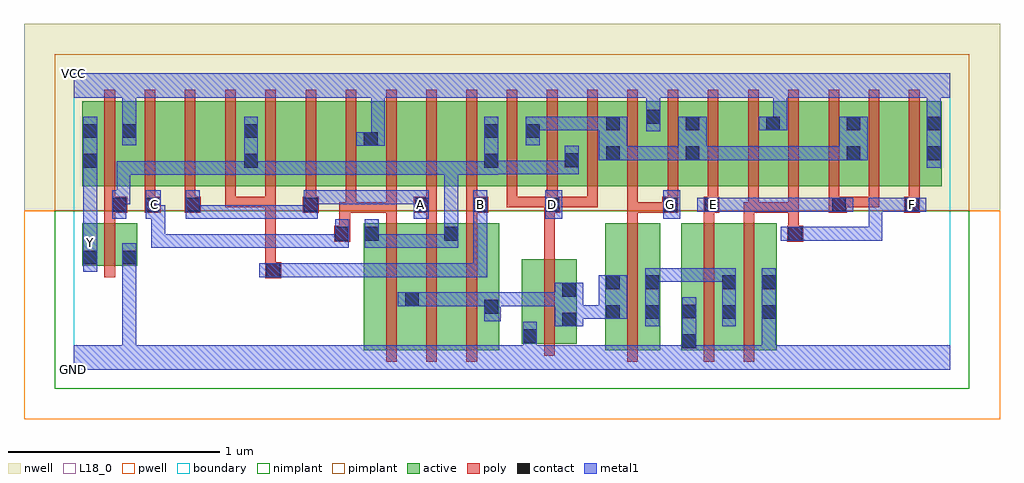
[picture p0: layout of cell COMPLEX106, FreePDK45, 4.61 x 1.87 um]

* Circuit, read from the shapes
.subckt COMPLEX106 A B C D E F G GND VCC Y
M1 GND n1 Y VSUBS nfet w=0.2u l=0.05u
M2 n2 C n1 VSUBS nfet w=0.6u l=0.05u
M3 n1 A n2 VSUBS nfet w=0.6u l=0.05u
M4 n2 B n1 VSUBS nfet w=0.6u l=0.05u
M5 n2 D GND VSUBS nfet w=0.4u l=0.05u
M6 n3 G n2 VSUBS nfet w=0.6u l=0.05u
M7 n3 E GND VSUBS nfet w=0.6u l=0.05u
M8 GND F n3 VSUBS nfet w=0.6u l=0.05u
M9 VCC n1 Y n4 pfet w=0.4u l=0.05u
M10 n5 C VCC n4 pfet w=0.4u l=0.05u
M11 n6 A n5 n4 pfet w=0.4u l=0.05u
M12 n1 B n6 n4 pfet w=0.4u l=0.05u
M13 n7 B n1 n4 pfet w=0.4u l=0.05u
M14 n8 A n7 n4 pfet w=0.4u l=0.05u
M15 VCC C n8 n4 pfet w=0.4u l=0.05u
M16 n9 C VCC n4 pfet w=0.4u l=0.05u
M17 n10 A n9 n4 pfet w=0.4u l=0.05u
M18 n1 B n10 n4 pfet w=0.4u l=0.05u
M19 n11 D n1 n4 pfet w=0.4u l=0.05u m=3
M20 VCC G n11 n4 pfet w=0.4u l=0.05u m=2
M21 n12 E n11 n4 pfet w=0.4u l=0.05u
M22 VCC F n12 n4 pfet w=0.4u l=0.05u
M23 n13 F VCC n4 pfet w=0.4u l=0.05u
M24 n11 E n13 n4 pfet w=0.4u l=0.05u
M25 n14 E n11 n4 pfet w=0.4u l=0.05u
M26 VCC F n14 n4 pfet w=0.4u l=0.05u
.ends

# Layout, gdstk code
import gdstk
lib = gdstk.Library(unit=1e-6, precision=1e-09)
def R(c, l, rs):  # rectangles x0, y0, x1, y1
    for r in rs: c.add(gdstk.rectangle(r[:2], r[2:], *l))
def A(c, l, x, y, w, h, nx, ny, dx, dy):  # array of equal rectangles
    R(c, l, [(x+i*dx, y+j*dy, x+i*dx+w, y+j*dy+h) for i in range(nx) for j in range(ny)])
active = (1, 0)
pwell = (2, 0)
nwell = (3, 0)
nimplant = (4, 0)
pimplant = (5, 0)
poly = (9, 0)
contact = (10, 0)
metal1 = (11, 0)
L18_0 = (18, 0)
boundary = (235, 0)

complex106 = lib.new_cell('COMPLEX106')
A(complex106, active, 0.455, 0.867, 0.19, 0.4, 3, 1, 0.57, 0)
A(complex106, active, 2.885, 0.867, 0.23, 0.4, 3, 1, 0.38, 0)
A(complex106, active, 3.115, 0.867, 0.225, 0.4, 3, 1, 0.38, 0)
R(complex106, active, [(1.37,0.092,1.635,0.692), (1.56,0.092,1.82,0.692), (1.745,0.092,2.01,0.692), (2.51,0.092,2.77,0.692), (2.87,0.092,2.945,0.692), (2.87,0.092,3.132,0.692), (3.057,0.092,3.32,0.692), (3.245,0.092,3.32,0.692), (1.37,0.095,1.445,0.692), (1.56,0.095,1.635,0.667), (1.745,0.095,1.82,0.692), (1.935,0.095,2.01,0.692), (2.51,0.095,2.585,0.692), (2.695,0.095,2.77,0.692), (3.057,0.095,3.132,0.692), (2.117,0.122,2.377,0.522), (2.117,0.122,2.192,0.492), (2.302,0.2,2.377,0.522), (0.04,0.492,0.115,0.692), (0.04,0.492,0.3,0.692), (0.225,0.492,0.3,0.692), (0.04,0.867,0.3,1.267), (0.04,0.867,0.115,1.2), (0.225,0.867,0.455,1.267), (0.225,0.867,0.3,1.267), (0.645,0.867,0.875,1.267), (0.8,0.867,1.025,1.267), (0.8,0.867,0.875,1.2), (1.215,0.867,1.44,1.267), (1.365,0.867,1.595,1.267), (1.365,0.867,1.44,1.267), (1.785,0.867,2.01,1.267), (1.935,0.867,2.01,1.2), (1.935,0.867,2.205,1.267), (2.13,0.867,2.39,1.267), (2.13,0.867,2.205,1.2), (2.315,0.867,2.585,1.267), (2.315,0.867,2.39,1.07), (2.51,0.867,2.585,1.2), (2.51,0.867,2.775,1.267), (2.7,0.867,2.96,1.267), (2.7,0.867,2.775,1.267), (3.265,0.867,3.34,1.242), (3.645,0.867,3.72,1.2), (4.025,0.867,4.1,1.205), (2.885,0.907,2.96,1.2)])
R(complex106, pwell, [(-0.235,-0.235,4.375,0.75)])
R(complex106, nwell, [(-0.235,0.75,4.375,1.635)])
R(complex106, nimplant, [(-0.09,-0.09,4.23,0.75)])
R(complex106, pimplant, [(-0.09,0.75,4.23,1.49)])
A(complex106, poly, 1.475, 0.037, 0.05, 0.71, 3, 1, 0.19, 0)
A(complex106, poly, 1.475, 0.697, 0.05, 0.095, 3, 1, 0.19, 0)
A(complex106, poly, 0.145, 0.767, 0.05, 0.095, 6, 1, 0.19, 0)
A(complex106, poly, 1.665, 0.767, 0.05, 0.095, 5, 1, 0.19, 0)
A(complex106, poly, 3.565, 0.767, 0.05, 0.095, 3, 1, 0.19, 0)
A(complex106, poly, 0.145, 0.812, 0.05, 0.51, 21, 1, 0.19, 0)
R(complex106, poly, [(2.615,0.037,2.665,0.747), (2.975,0.037,3.025,0.747), (3.165,0.037,3.215,0.747), (2.222,0.067,2.272,0.577), (0.905,0.432,0.98,0.507), (0.145,0.437,0.195,0.747), (0.905,0.457,0.955,0.507), (0.905,0.457,0.955,0.507), (0.905,0.457,0.955,0.817), (2.222,0.527,2.272,0.792), (1.23,0.605,1.305,0.68), (3.37,0.605,3.445,0.68), (1.255,0.63,1.305,0.792), (3.375,0.63,3.425,0.792), (0.145,0.697,0.195,0.792), (2.615,0.697,2.665,0.792), (2.975,0.697,3.025,0.792), (3.165,0.697,3.215,0.792), (0.145,0.742,0.252,0.817), (0.335,0.742,0.41,0.817), (0.525,0.742,0.6,0.817), (1.082,0.742,1.157,0.817), (1.255,0.742,1.32,0.792), (1.27,0.742,1.32,0.792), (1.27,0.742,1.335,0.792), (1.285,0.742,1.335,0.862), (1.285,0.742,1.525,0.792), (1.475,0.742,1.525,0.792), (1.475,0.742,1.525,0.792), (1.475,0.742,1.525,0.792), (1.475,0.742,1.525,0.862), (1.607,0.742,1.715,0.817), (1.855,0.742,1.957,0.817), (2.222,0.742,2.297,0.817), (2.615,0.742,2.665,0.792), (2.615,0.742,2.665,0.862), (2.615,0.742,2.83,0.792), (2.78,0.742,2.855,0.817), (2.78,0.742,2.83,0.792), (2.78,0.742,2.83,0.792), (2.975,0.742,3.05,0.817), (3.165,0.742,3.235,0.792), (3.185,0.742,3.235,0.862), (3.185,0.742,3.425,0.792), (3.375,0.742,3.425,0.792), (3.375,0.742,3.425,0.792), (3.375,0.742,3.425,0.792), (3.375,0.742,3.425,0.792), (3.375,0.742,3.425,0.792), (3.375,0.742,3.425,0.862), (3.565,0.742,3.652,0.817), (3.922,0.742,3.997,0.817), (0.715,0.767,0.765,0.817), (0.715,0.767,0.765,0.817), (0.715,0.767,0.765,0.817), (0.715,0.767,0.955,0.817), (0.905,0.767,0.955,0.817), (2.045,0.767,2.095,0.817), (2.045,0.767,2.272,0.817), (2.222,0.767,2.272,0.817), (2.222,0.767,2.272,0.817), (2.247,0.767,2.475,0.817), (2.425,0.767,2.475,0.817), (2.425,0.767,2.475,0.817), (2.425,0.767,2.475,0.817), (2.805,0.767,2.855,0.862), (2.995,0.767,3.045,0.862), (3.602,0.767,3.805,0.817), (3.755,0.767,3.805,0.817), (3.755,0.767,3.805,0.817), (3.755,0.767,3.805,0.817)])
A(complex106, contact, 2.89, 1.13, 0.065, 0.065, 4, 1, 0.38, 0)
R(complex106, contact, [(2.875,0.102,2.94,0.167), (2.122,0.127,2.187,0.192), (2.307,0.205,2.372,0.27), (2.515,0.24,2.58,0.305), (2.7,0.24,2.765,0.305), (3.062,0.24,3.127,0.305), (3.25,0.24,3.315,0.305), (2.875,0.242,2.94,0.307), (1.94,0.265,2.005,0.33), (1.565,0.3,1.63,0.365), (2.307,0.345,2.372,0.41), (2.515,0.38,2.58,0.445), (2.7,0.38,2.765,0.445), (3.062,0.38,3.127,0.445), (3.25,0.38,3.315,0.445), (0.91,0.437,0.975,0.502), (0.045,0.497,0.11,0.562), (0.23,0.497,0.295,0.562), (1.235,0.61,1.3,0.675), (1.375,0.61,1.44,0.675), (1.75,0.61,1.815,0.675), (3.375,0.61,3.44,0.675), (0.182,0.747,0.247,0.812), (0.34,0.747,0.405,0.812), (0.53,0.747,0.595,0.812), (1.087,0.747,1.152,0.812), (1.612,0.747,1.677,0.812), (1.887,0.747,1.952,0.812), (2.227,0.747,2.292,0.812), (2.785,0.747,2.85,0.812), (2.98,0.747,3.045,0.812), (3.582,0.747,3.647,0.812), (3.927,0.747,3.992,0.812), (0.045,0.955,0.11,1.02), (0.805,0.955,0.87,1.02), (1.94,0.955,2.005,1.02), (2.32,0.957,2.385,1.022), (2.515,0.99,2.58,1.055), (2.89,0.99,2.955,1.055), (3.65,0.99,3.715,1.055), (4.03,0.99,4.095,1.055), (1.37,1.057,1.435,1.122), (0.045,1.095,0.11,1.16), (0.23,1.095,0.295,1.16), (0.805,1.095,0.87,1.16), (1.94,1.095,2.005,1.16), (2.135,1.095,2.2,1.16), (2.515,1.13,2.58,1.195), (2.705,1.162,2.77,1.227)])
R(complex106, metal1, [(0,0,4.14,0.115), (0.23,0.05,0.295,0.115), (0.23,0.05,0.295,0.115), (0.23,0.05,0.295,0.115), (0.23,0.05,0.295,0.115), (0.23,0.05,0.295,0.527), (2.122,0.05,2.187,0.115), (2.122,0.05,2.187,0.115), (2.122,0.05,2.187,0.157), (2.875,0.05,2.94,0.132), (3.25,0.05,3.315,0.27), (2.875,0.067,2.94,0.342), (2.122,0.092,2.187,0.227), (2.272,0.205,2.407,0.41), (2.7,0.205,2.765,0.48), (3.062,0.205,3.127,0.48), (3.25,0.205,3.315,0.48), (1.94,0.23,2.017,0.365), (2.342,0.24,2.477,0.305), (2.412,0.24,2.477,0.305), (2.412,0.24,2.545,0.305), (2.48,0.24,2.615,0.445), (1.53,0.3,1.665,0.365), (1.6,0.3,1.665,0.365), (1.6,0.3,1.665,0.365), (1.6,0.3,1.815,0.365), (1.75,0.3,1.815,0.365), (1.75,0.3,1.815,0.365), (1.75,0.3,1.815,0.365), (1.75,0.3,2.005,0.365), (1.952,0.3,2.017,0.365), (1.952,0.3,2.017,0.365), (1.952,0.3,2.155,0.365), (2.09,0.3,2.155,0.365), (2.09,0.3,2.155,0.365), (2.09,0.3,2.155,0.365), (2.09,0.3,2.155,0.365), (2.09,0.3,2.155,0.365), (2.09,0.3,2.155,0.365), (2.09,0.3,2.155,0.365), (2.09,0.3,2.337,0.365), (2.272,0.3,2.337,0.365), (2.272,0.3,2.337,0.365), (2.7,0.415,2.765,0.48), (2.7,0.415,2.765,0.48), (2.7,0.415,2.902,0.48), (2.837,0.415,2.902,0.48), (2.837,0.415,3.127,0.48), (3.062,0.415,3.127,0.48), (3.062,0.415,3.127,0.48), (0.875,0.437,1.01,0.502), (0.945,0.437,1.01,0.502), (0.945,0.437,1.01,0.502), (0.945,0.437,1.01,0.502), (0.945,0.437,1.01,0.502), (0.945,0.437,1.162,0.502), (1.097,0.437,1.162,0.502), (1.097,0.437,1.162,0.502), (1.097,0.437,1.162,0.502), (1.097,0.437,1.302,0.502), (1.237,0.437,1.302,0.502), (1.237,0.437,1.302,0.502), (1.237,0.437,1.302,0.502), (1.237,0.437,1.44,0.502), (1.375,0.437,1.44,0.502), (1.375,0.437,1.677,0.502), (1.612,0.437,1.677,0.502), (1.612,0.437,1.677,0.502), (1.612,0.437,1.677,0.502), (1.612,0.437,1.815,0.502), (1.75,0.437,1.815,0.502), (1.75,0.437,1.815,0.502), (1.75,0.437,1.815,0.502), (1.75,0.437,1.88,0.502), (1.815,0.437,1.88,0.502), (1.815,0.437,1.952,0.502), (1.887,0.437,1.952,0.502), (1.887,0.437,1.952,0.777), (0.045,0.462,0.11,0.597), (0.23,0.462,0.295,0.527), (0.23,0.462,0.295,0.527), (0.23,0.462,0.295,0.597), (0.045,0.532,0.11,0.597), (0.045,0.532,0.112,0.667), (0.367,0.575,0.432,0.64), (0.367,0.575,0.432,0.777), (0.367,0.575,0.665,0.64), (0.6,0.575,0.665,0.64), (0.6,0.575,0.665,0.64), (0.6,0.575,0.665,0.64), (0.6,0.575,0.802,0.64), (0.737,0.575,0.802,0.64), (0.737,0.575,0.802,0.64), (0.737,0.575,0.802,0.64), (0.737,0.575,1.01,0.64), (0.945,0.575,1.01,0.64), (0.945,0.575,1.01,0.64), (0.945,0.575,1.01,0.64), (0.945,0.575,1.147,0.64), (1.082,0.575,1.147,0.64), (1.082,0.575,1.147,0.64), (1.082,0.575,1.147,0.64), (1.082,0.575,1.147,0.64), (1.082,0.575,1.147,0.64), (1.082,0.575,1.3,0.64), (1.235,0.575,1.3,0.71), (1.375,0.575,1.44,0.64), (1.375,0.575,1.44,0.64), (1.375,0.575,1.44,0.71), (1.375,0.575,1.677,0.64), (1.612,0.575,1.677,0.64), (1.612,0.575,1.677,0.64), (1.612,0.575,1.677,0.64), (1.612,0.575,1.815,0.64), (1.75,0.575,1.815,0.71), (0.045,0.602,0.11,0.985), (3.34,0.61,3.475,0.675), (3.41,0.61,3.475,0.675), (3.41,0.61,3.475,0.675), (3.41,0.61,3.475,0.675), (3.41,0.61,3.475,0.675), (3.41,0.61,3.612,0.675), (3.547,0.61,3.612,0.675), (3.547,0.61,3.82,0.675), (3.755,0.61,3.82,0.675), (3.755,0.61,3.82,0.812), (1.75,0.645,1.815,0.71), (1.75,0.645,1.815,0.71), (1.75,0.645,1.815,0.985), (0.182,0.712,0.247,0.847), (0.34,0.712,0.412,0.847), (0.347,0.712,0.432,0.777), (0.367,0.712,0.432,0.777), (0.53,0.712,0.595,0.777), (0.53,0.712,0.595,0.777), (0.53,0.712,0.595,0.847), (0.53,0.712,0.802,0.777), (0.737,0.712,0.802,0.777), (0.737,0.712,0.802,0.777), (0.737,0.712,0.802,0.777), (0.737,0.712,1.01,0.777), (0.945,0.712,1.01,0.777), (0.945,0.712,1.01,0.777), (0.945,0.712,1.01,0.777), (0.945,0.712,1.152,0.777), (1.087,0.712,1.152,0.847), (1.607,0.712,1.677,0.847), (1.887,0.712,1.952,0.777), (1.887,0.712,1.952,0.777), (1.887,0.712,1.952,0.777), (1.887,0.712,1.952,0.777), (1.887,0.712,1.952,0.847), (2.227,0.712,2.307,0.847), (2.785,0.712,2.865,0.847), (2.945,0.747,3.087,0.812), (3.022,0.747,3.127,0.812), (3.062,0.747,3.127,0.812), (3.062,0.747,3.265,0.812), (3.2,0.747,3.265,0.812), (3.2,0.747,3.265,0.812), (3.2,0.747,3.265,0.812), (3.2,0.747,3.402,0.812), (3.337,0.747,3.402,0.812), (3.337,0.747,3.402,0.812), (3.337,0.747,3.402,0.812), (3.337,0.747,3.612,0.812), (3.547,0.747,3.682,0.812), (3.755,0.747,3.82,0.812), (3.755,0.747,3.82,0.812), (3.755,0.747,3.82,0.812), (3.755,0.747,3.957,0.812), (3.892,0.747,3.957,0.812), (3.892,0.747,3.957,0.812), (3.892,0.747,4.027,0.812), (0.182,0.782,0.267,0.847), (0.202,0.782,0.267,0.847), (0.202,0.782,0.267,0.985), (1.087,0.782,1.152,0.847), (1.087,0.782,1.152,0.847), (1.087,0.782,1.302,0.847), (1.237,0.782,1.302,0.847), (1.237,0.782,1.302,0.847), (1.237,0.782,1.302,0.847), (1.237,0.782,1.44,0.847), (1.375,0.782,1.44,0.847), (1.375,0.782,1.672,0.847), (1.607,0.782,1.672,0.847), (1.607,0.782,1.672,0.847), (0.045,0.92,0.11,1.195), (0.202,0.92,0.267,0.985), (0.202,0.92,0.457,0.985), (0.392,0.92,0.457,0.985), (0.392,0.92,0.457,0.985), (0.392,0.92,0.457,0.985), (0.392,0.92,0.595,0.985), (0.53,0.92,0.595,0.985), (0.53,0.92,0.595,0.985), (0.53,0.92,0.595,0.985), (0.53,0.92,0.802,0.985), (0.737,0.92,0.802,0.985), (0.737,0.92,0.87,0.985), (0.805,0.92,0.87,1.195), (0.805,0.92,1.01,0.985), (0.945,0.92,1.01,0.985), (0.945,0.92,1.01,0.985), (0.945,0.92,1.01,0.985), (0.945,0.92,1.162,0.985), (1.097,0.92,1.162,0.985), (1.097,0.92,1.162,0.985), (1.097,0.92,1.162,0.985), (1.097,0.92,1.302,0.985), (1.237,0.92,1.302,0.985), (1.237,0.92,1.302,0.985), (1.237,0.92,1.302,0.985), (1.237,0.92,1.44,0.985), (1.375,0.92,1.44,0.985), (1.375,0.92,1.677,0.985), (1.612,0.92,1.677,0.985), (1.612,0.92,1.677,0.985), (1.612,0.92,1.677,0.985), (1.612,0.92,1.815,0.985), (1.75,0.92,1.815,0.985), (1.75,0.92,2.005,0.985), (1.94,0.92,2.005,1.195), (1.94,0.92,2.005,0.985), (1.94,0.92,2.005,0.985), (1.94,0.922,2.142,0.987), (2.077,0.922,2.142,0.987), (2.077,0.922,2.2,0.987), (2.135,0.922,2.2,0.987), (2.135,0.922,2.292,0.987), (2.227,0.922,2.292,0.987), (2.227,0.922,2.385,0.987), (2.32,0.922,2.385,1.057), (4.03,0.955,4.095,1.23), (2.48,0.99,2.615,1.195), (2.55,0.99,2.615,1.055), (2.55,0.99,2.615,1.055), (2.55,0.99,2.615,1.055), (2.55,0.99,2.615,1.055), (2.55,0.99,2.765,1.055), (2.7,0.99,2.765,1.055), (2.7,0.99,2.765,1.055), (2.7,0.99,2.765,1.055), (2.7,0.99,2.92,1.055), (2.855,0.99,2.99,1.195), (2.925,0.99,2.99,1.055), (2.925,0.99,2.99,1.055), (2.925,0.99,3.127,1.055), (3.062,0.99,3.127,1.055), (3.062,0.99,3.265,1.055), (3.2,0.99,3.265,1.055), (3.2,0.99,3.265,1.055), (3.2,0.99,3.265,1.055), (3.2,0.99,3.402,1.055), (3.337,0.99,3.402,1.055), (3.337,0.99,3.402,1.055), (3.337,0.99,3.402,1.055), (3.337,0.99,3.68,1.055), (3.615,0.99,3.68,1.055), (3.615,0.99,3.68,1.055), (3.615,0.99,3.75,1.195), (1.335,1.057,1.47,1.122), (1.405,1.057,1.47,1.35), (0.23,1.06,0.295,1.195), (2.135,1.06,2.2,1.195), (2.705,1.127,2.77,1.262), (0.23,1.13,0.295,1.35), (2.135,1.13,2.34,1.195), (2.275,1.13,2.34,1.195), (2.275,1.13,2.407,1.195), (2.342,1.13,2.407,1.195), (2.342,1.13,2.477,1.195), (2.412,1.13,2.477,1.195), (2.412,1.13,2.545,1.195), (3.235,1.13,3.37,1.195), (3.305,1.13,3.37,1.35), (4.03,1.165,4.095,1.35), (2.705,1.197,2.77,1.35), (0,1.285,4.14,1.4)])
R(complex106, L18_0, [(0,0,4.14,0.115), (0.23,0.05,0.295,0.115), (0.23,0.05,0.295,0.115), (0.23,0.05,0.295,0.115), (0.23,0.05,0.295,0.115), (0.23,0.05,0.295,0.527), (2.122,0.05,2.187,0.115), (2.122,0.05,2.187,0.115), (2.122,0.05,2.187,0.157), (2.875,0.05,2.94,0.132), (3.25,0.05,3.315,0.27), (2.875,0.067,2.94,0.342), (2.122,0.092,2.187,0.227), (3.25,0.205,3.315,0.48), (0.875,0.437,1.01,0.502), (0.945,0.437,1.01,0.502), (0.945,0.437,1.01,0.502), (0.945,0.437,1.01,0.502), (0.945,0.437,1.01,0.502), (0.945,0.437,1.162,0.502), (1.097,0.437,1.162,0.502), (1.097,0.437,1.162,0.502), (1.097,0.437,1.162,0.502), (1.097,0.437,1.302,0.502), (1.237,0.437,1.302,0.502), (1.237,0.437,1.302,0.502), (1.237,0.437,1.302,0.502), (1.237,0.437,1.44,0.502), (1.375,0.437,1.44,0.502), (1.375,0.437,1.677,0.502), (1.612,0.437,1.677,0.502), (1.612,0.437,1.677,0.502), (1.612,0.437,1.677,0.502), (1.612,0.437,1.815,0.502), (1.75,0.437,1.815,0.502), (1.75,0.437,1.815,0.502), (1.75,0.437,1.815,0.502), (1.75,0.437,1.88,0.502), (1.815,0.437,1.88,0.502), (1.815,0.437,1.952,0.502), (1.887,0.437,1.952,0.502), (1.887,0.437,1.952,0.777), (0.045,0.462,0.11,0.597), (0.23,0.462,0.295,0.597), (0.23,0.462,0.295,0.527), (0.23,0.462,0.295,0.527), (0.045,0.532,0.112,0.667), (0.045,0.532,0.11,0.597), (0.047,0.567,0.112,0.632), (0.367,0.575,0.432,0.64), (0.367,0.575,0.432,0.777), (0.367,0.575,0.665,0.64), (0.6,0.575,0.665,0.64), (0.6,0.575,0.665,0.64), (0.6,0.575,0.665,0.64), (0.6,0.575,0.802,0.64), (0.737,0.575,0.802,0.64), (0.737,0.575,0.802,0.64), (0.737,0.575,0.802,0.64), (0.737,0.575,1.01,0.64), (0.945,0.575,1.01,0.64), (0.945,0.575,1.01,0.64), (0.945,0.575,1.01,0.64), (0.945,0.575,1.147,0.64), (1.082,0.575,1.147,0.64), (1.082,0.575,1.147,0.64), (1.082,0.575,1.147,0.64), (1.082,0.575,1.147,0.64), (1.082,0.575,1.147,0.64), (1.082,0.575,1.3,0.64), (1.235,0.575,1.3,0.71), (0.045,0.602,0.11,0.985), (3.34,0.61,3.475,0.675), (3.41,0.61,3.475,0.675), (3.41,0.61,3.475,0.675), (3.41,0.61,3.475,0.675), (3.41,0.61,3.475,0.675), (3.41,0.61,3.612,0.675), (3.547,0.61,3.612,0.675), (3.547,0.61,3.82,0.675), (3.755,0.61,3.82,0.675), (3.755,0.61,3.82,0.812), (0.34,0.712,0.412,0.847), (0.347,0.712,0.432,0.777), (0.367,0.712,0.432,0.777), (0.53,0.712,0.595,0.847), (0.53,0.712,0.595,0.777), (0.53,0.712,0.595,0.777), (0.53,0.712,0.802,0.777), (0.737,0.712,0.802,0.777), (0.737,0.712,0.802,0.777), (0.737,0.712,0.802,0.777), (0.737,0.712,1.01,0.777), (0.945,0.712,1.01,0.777), (0.945,0.712,1.01,0.777), (0.945,0.712,1.01,0.777), (0.945,0.712,1.152,0.777), (1.087,0.712,1.152,0.847), (1.607,0.712,1.677,0.847), (1.887,0.712,1.952,0.847), (1.887,0.712,1.952,0.777), (1.887,0.712,1.952,0.777), (1.887,0.712,1.952,0.777), (1.887,0.712,1.952,0.777), (2.227,0.712,2.307,0.847), (2.785,0.712,2.865,0.847), (0.347,0.747,0.412,0.812), (1.607,0.747,1.672,0.812), (1.887,0.747,1.952,0.812), (2.227,0.747,2.292,0.812), (2.787,0.747,2.852,0.812), (2.945,0.747,3.087,0.812), (2.987,0.747,3.052,0.812), (3.022,0.747,3.127,0.812), (3.062,0.747,3.127,0.812), (3.062,0.747,3.265,0.812), (3.2,0.747,3.265,0.812), (3.2,0.747,3.265,0.812), (3.2,0.747,3.265,0.812), (3.2,0.747,3.402,0.812), (3.337,0.747,3.402,0.812), (3.337,0.747,3.402,0.812), (3.337,0.747,3.402,0.812), (3.337,0.747,3.612,0.812), (3.547,0.747,3.682,0.812), (3.755,0.747,3.82,0.812), (3.755,0.747,3.82,0.812), (3.755,0.747,3.82,0.812), (3.755,0.747,3.957,0.812), (3.892,0.747,3.957,0.812), (3.892,0.747,3.957,0.812), (3.892,0.747,4.027,0.812), (3.927,0.747,3.992,0.812), (1.087,0.782,1.152,0.847), (1.087,0.782,1.152,0.847), (1.087,0.782,1.302,0.847), (1.237,0.782,1.302,0.847), (1.237,0.782,1.302,0.847), (1.237,0.782,1.302,0.847), (1.237,0.782,1.44,0.847), (1.375,0.782,1.44,0.847), (1.375,0.782,1.672,0.847), (1.607,0.782,1.672,0.847), (1.607,0.782,1.672,0.847), (0.045,0.92,0.11,1.195), (4.03,0.955,4.095,1.23), (1.335,1.057,1.47,1.122), (1.405,1.057,1.47,1.35), (0.23,1.06,0.295,1.195), (2.705,1.127,2.77,1.262), (0.23,1.13,0.295,1.35), (3.235,1.13,3.37,1.195), (3.305,1.13,3.37,1.35), (4.03,1.165,4.095,1.35), (2.705,1.197,2.77,1.35), (0,1.285,4.14,1.4)])
R(complex106, boundary, [(0,0,4.14,1.4)])
complex106.add(gdstk.Label('A', (1.64,0.78), layer=11, texttype=0))
complex106.add(gdstk.Label('B', (1.92,0.78), layer=11, texttype=0))
complex106.add(gdstk.Label('C', (0.38,0.78), layer=11, texttype=0))
complex106.add(gdstk.Label('D', (2.26,0.78), layer=11, texttype=0))
complex106.add(gdstk.Label('E', (3.02,0.78), layer=11, texttype=0))
complex106.add(gdstk.Label('F', (3.96,0.78), layer=11, texttype=0))
complex106.add(gdstk.Label('G', (2.82,0.78), layer=11, texttype=0))
complex106.add(gdstk.Label('Y', (0.08,0.6), layer=11, texttype=0))
complex106.add(gdstk.Label('VCC', (0,1.4), layer=11, texttype=0))
complex106.add(gdstk.Label('GND', (0,0), layer=11, texttype=0))

lib.write_gds('COMPLEX106.gds')
